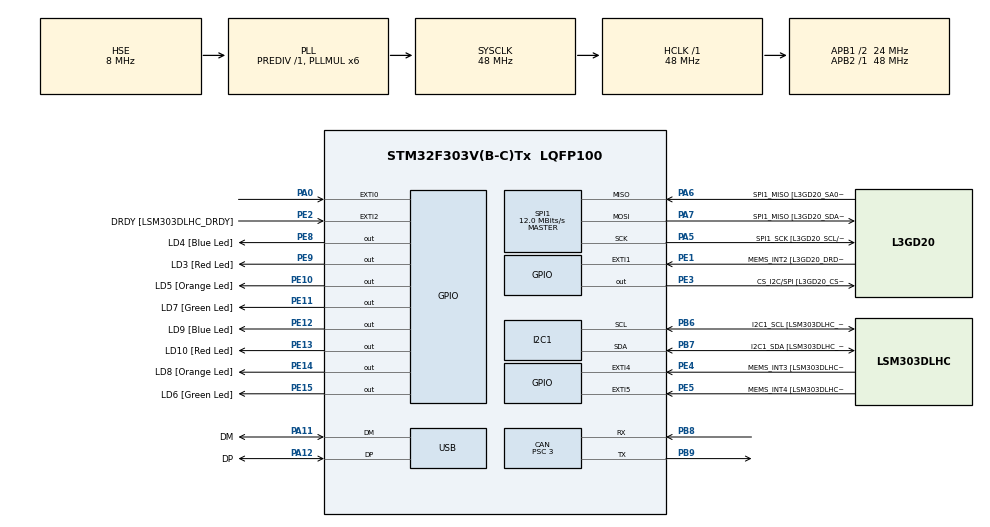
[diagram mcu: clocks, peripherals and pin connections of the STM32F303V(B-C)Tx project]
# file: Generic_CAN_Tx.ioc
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CAN.BS1=CAN_BS1_3TQ
CAN.BS2=CAN_BS2_4TQ
CAN.CalculateBaudRate=1000000
CAN.CalculateTimeBit=1000
CAN.CalculateTimeQuantum=125.0
CAN.Prescaler=3
I2C1.Timing-I2C=0x2000090E
Mcu.Family=STM32F3
Mcu.Name=STM32F303V(B-C)Tx
Mcu.Package=LQFP100
NVIC.EXTI0_IRQn=true\:0\:0\:false\:false\:true\:true\:true\:true
NVIC.PriorityGroup=NVIC_PRIORITYGROUP_0
PA0.Signal=GPXTI0
PA11.GPIO_Label=DM
PA11.Mode=Device
PA11.Signal=USB_DM
PA12.GPIO_Label=DP
PA12.Mode=Device
PA12.Signal=USB_DP
PA13.GPIO_Label=SWDIO
PA13.Mode=Serial_Wire
PA13.Signal=SYS_JTMS-SWDIO
PA14.GPIO_Label=SWCLK
PA14.Mode=Serial_Wire
PA14.Signal=SYS_JTCK-SWCLK
PA5.GPIO_Label=SPI1_SCK [L3GD20_SCL/SPC]
PA5.Mode=Full_Duplex_Master
PA5.Signal=SPI1_SCK
PA6.GPIO_Label=SPI1_MISO [L3GD20_SA0/SDO]
PA6.Mode=Full_Duplex_Master
PA6.Signal=SPI1_MISO
PA7.GPIO_Label=SPI1_MISO [L3GD20_SDA/SDI/SDO]
PA7.Mode=Full_Duplex_Master
PA7.Signal=SPI1_MOSI
PB3.GPIO_Label=SWO
PB3.Signal=SYS_JTDO-TRACESWO
PB6.GPIO_Label=I2C1_SCL [LSM303DLHC_SCL]
PB6.GPIO_Pu=GPIO_PULLUP
PB6.Mode=I2C
PB6.Signal=I2C1_SCL
PB7.GPIO_Label=I2C1_SDA [LSM303DLHC_SDA]
PB7.GPIO_Pu=GPIO_PULLUP
PB7.Mode=I2C
PB7.Signal=I2C1_SDA
PB8.Mode=CAN_Activate
PB8.Signal=CAN_RX
PB9.Mode=CAN_Activate
PB9.Signal=CAN_TX
PC14-OSC32_IN.GPIO_Label=OSC32_IN
PC14-OSC32_IN.Signal=RCC_OSC32_IN
PC15-OSC32_OUT.GPIO_Label=OSC32_OUT
PC15-OSC32_OUT.Signal=RCC_OSC32_OUT
PE1.GPIO_Label=MEMS_INT2 [L3GD20_DRDY/INT2]
PE1.GPIO_ModeDefaultEXTI=GPIO_MODE_EVT_RISING
PE1.Signal=GPXTI1
PE10.GPIO_Label=LD5 [Orange Led]
PE10.Signal=GPIO_Output
PE11.GPIO_Label=LD7 [Green Led]
PE11.Signal=GPIO_Output
PE12.GPIO_Label=LD9 [Blue Led]
PE12.Signal=GPIO_Output
PE13.GPIO_Label=LD10 [Red Led]
PE13.Signal=GPIO_Output
PE14.GPIO_Label=LD8 [Orange Led]
PE14.Signal=GPIO_Output
PE15.GPIO_Label=LD6 [Green Led]
PE15.Signal=GPIO_Output
PE2.GPIO_Label=DRDY [LSM303DLHC_DRDY]
PE2.GPIO_ModeDefaultEXTI=GPIO_MODE_EVT_RISING
PE2.Signal=GPXTI2
PE3.GPIO_Label=CS_I2C/SPI [L3GD20_CS_I2C/SPI]
PE3.Signal=GPIO_Output
PE4.GPIO_Label=MEMS_INT3 [LSM303DLHC_INT1]
PE4.GPIO_ModeDefaultEXTI=GPIO_MODE_EVT_RISING
PE4.Signal=GPXTI4
PE5.GPIO_Label=MEMS_INT4 [LSM303DLHC_INT2]
PE5.GPIO_ModeDefaultEXTI=GPIO_MODE_EVT_RISING
PE5.Signal=GPXTI5
PE8.GPIO_Label=LD4 [Blue Led]
PE8.Signal=GPIO_Output
PE9.GPIO_Label=LD3 [Red Led]
PE9.Signal=GPIO_Output
PF0-OSC_IN.GPIO_Label=OSC_IN
PF0-OSC_IN.Mode=HSE-External-Clock-Source
PF0-OSC_IN.Signal=RCC_OSC_IN
PF1-OSC_OUT.GPIO_Label=OSC_OUT
PF1-OSC_OUT.Signal=RCC_OSC_OUT
ProjectManager.HeapSize=0x200
ProjectManager.StackSize=0x400
ProjectManager.TargetToolchain=Makefile
RCC.AHBFreq_Value=48000000
RCC.APB1CLKDivider=RCC_HCLK_DIV2
RCC.APB1Freq_Value=24000000
RCC.APB1TimFreq_Value=48000000
RCC.APB2Freq_Value=48000000
RCC.APB2TimFreq_Value=48000000
RCC.CortexFreq_Value=48000000
RCC.HCLKFreq_Value=48000000
RCC.HSE_VALUE=8000000
RCC.HSI_VALUE=8000000
RCC.LSE_VALUE=32768
RCC.PLLMUL=RCC_PLL_MUL6
RCC.SYSCLKFreq_VALUE=48000000
RCC.SYSCLKSourceVirtual=RCC_SYSCLKSOURCE_PLLCLK
RCC.USBFreq_Value=48000000
SPI1.BaudRatePrescaler=SPI_BAUDRATEPRESCALER_4
SPI1.BaudRatePrescaler-Full_Duplex_Master=SPI_BAUDRATEPRESCALER_2
SPI1.CalculateBaudRate=12.0 MBits/s
SPI1.CalculateBaudRate-Full_Duplex_Master=24.0 MBits/s
SPI1.Direction=SPI_DIRECTION_2LINES
SPI1.Mode=SPI_MODE_MASTER
SPI1.Mode-Full_Duplex_Master=SPI_MODE_MASTER
SPI1.VirtualType=VM_MASTER
board=STM32F3DISCOVERY

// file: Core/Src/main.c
/* USER CODE BEGIN Header */
/**
  ******************************************************************************
  * @file           : main.c
  * @brief          : Main program body
  ******************************************************************************
  * @attention
  *
  * Copyright (c) 2022 STMicroelectronics.
  * All rights reserved.
  *
  * This software is licensed under terms that can be found in the LICENSE file
  * in the root directory of this software component.
  * If no LICENSE file comes with this software, it is provided AS-IS.
  *
  ******************************************************************************
  */
/* USER CODE END Header */
#include "main.h"
#include "can.h"
#include "i2c.h"
#include "spi.h"
#include "gpio.h"

void SystemClock_Config(void);

/* USER CODE BEGIN 0 */

CAN_TxHeaderTypeDef TxHeader;

uint8_t TxData[8];

uint32_t TxMailBox;

void HAL_GPIO_EXTI_Callback(uint16_t GPIO_Pin)
{
  if(GPIO_Pin == GPIO_PIN_0)
  {
    TxData[0] = 100;
    TxData[1] = 48;

    HAL_CAN_AddTxMessage(&hcan, &TxHeader, TxData, &TxMailBox);

    HAL_GPIO_TogglePin(LD3_GPIO_Port, LD3_Pin);
    HAL_GPIO_TogglePin(LD4_GPIO_Port, LD4_Pin);
    HAL_GPIO_TogglePin(LD5_GPIO_Port, LD5_Pin);
    HAL_GPIO_TogglePin(LD6_GPIO_Port, LD6_Pin);
    HAL_GPIO_TogglePin(LD7_GPIO_Port, LD7_Pin);
    HAL_GPIO_TogglePin(LD8_GPIO_Port, LD8_Pin);
    HAL_GPIO_TogglePin(LD9_GPIO_Port, LD9_Pin);
    HAL_GPIO_TogglePin(LD10_GPIO_Port, LD10_Pin);
  }
}

/* USER CODE END 0 */

int main(void)
{

  /* MCU Configuration--------------------------------------------------------*/

  /* Reset of all peripherals, Initializes the Flash interface and the Systick. */
  HAL_Init();

  /* Configure the system clock */
  SystemClock_Config();

  /* Initialize all configured peripherals */
  MX_GPIO_Init();
  MX_CAN_Init();
  MX_I2C1_Init();
  MX_SPI1_Init();

  /* USER CODE BEGIN 2 */

  HAL_CAN_Start(&hcan);

  TxHeader.DLC = 2;
  TxHeader.IDE = CAN_ID_STD;
  TxHeader.RTR = CAN_RTR_DATA;
  TxHeader.StdId = 0x103;
  TxHeader.TransmitGlobalTime = DISABLE;

  /* USER CODE END 2 */

  /* Infinite loop */
  while (1)
  {

  }
}

void SystemClock_Config(void)
{
  RCC_OscInitTypeDef RCC_OscInitStruct = {0};
  RCC_ClkInitTypeDef RCC_ClkInitStruct = {0};
  RCC_PeriphCLKInitTypeDef PeriphClkInit = {0};

  /** Initializes the RCC Oscillators according to the specified parameters
  * in the RCC_OscInitTypeDef structure.
  */
  RCC_OscInitStruct.OscillatorType = RCC_OSCILLATORTYPE_HSI|RCC_OSCILLATORTYPE_HSE;
  RCC_OscInitStruct.HSEState = RCC_HSE_BYPASS;
  RCC_OscInitStruct.HSEPredivValue = RCC_HSE_PREDIV_DIV1;
  RCC_OscInitStruct.HSIState = RCC_HSI_ON;
  RCC_OscInitStruct.HSICalibrationValue = RCC_HSICALIBRATION_DEFAULT;
  RCC_OscInitStruct.PLL.PLLState = RCC_PLL_ON;
  RCC_OscInitStruct.PLL.PLLSource = RCC_PLLSOURCE_HSE;
  RCC_OscInitStruct.PLL.PLLMUL = RCC_PLL_MUL6;
  if (HAL_RCC_OscConfig(&RCC_OscInitStruct) != HAL_OK)
  {
    Error_Handler();
  }

  /** Initializes the CPU, AHB and APB buses clocks
  */
  RCC_ClkInitStruct.ClockType = RCC_CLOCKTYPE_HCLK|RCC_CLOCKTYPE_SYSCLK
                              |RCC_CLOCKTYPE_PCLK1|RCC_CLOCKTYPE_PCLK2;
  RCC_ClkInitStruct.SYSCLKSource = RCC_SYSCLKSOURCE_PLLCLK;
  RCC_ClkInitStruct.AHBCLKDivider = RCC_SYSCLK_DIV1;
  RCC_ClkInitStruct.APB1CLKDivider = RCC_HCLK_DIV2;
  RCC_ClkInitStruct.APB2CLKDivider = RCC_HCLK_DIV1;

  if (HAL_RCC_ClockConfig(&RCC_ClkInitStruct, FLASH_LATENCY_1) != HAL_OK)
  {
    Error_Handler();
  }
  PeriphClkInit.PeriphClockSelection = RCC_PERIPHCLK_USB|RCC_PERIPHCLK_I2C1;
  PeriphClkInit.I2c1ClockSelection = RCC_I2C1CLKSOURCE_HSI;
  PeriphClkInit.USBClockSelection = RCC_USBCLKSOURCE_PLL;
  if (HAL_RCCEx_PeriphCLKConfig(&PeriphClkInit) != HAL_OK)
  {
    Error_Handler();
  }
}

void Error_Handler(void)
{
  __disable_irq();
  while (1)
  {
  }
}
